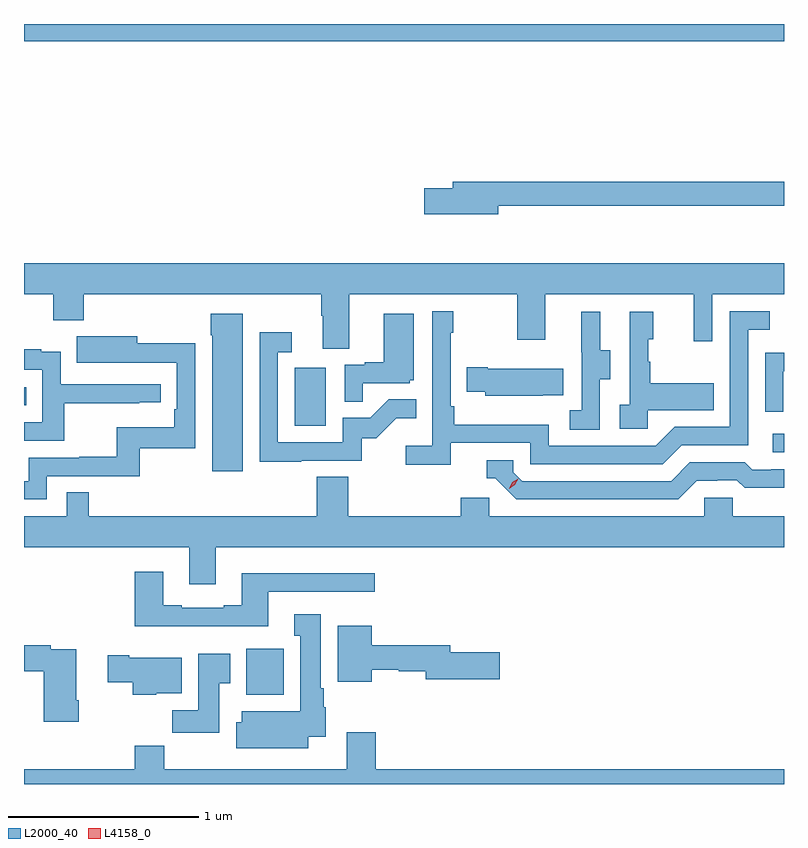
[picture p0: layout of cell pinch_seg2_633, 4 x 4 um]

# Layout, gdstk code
import gdstk
lib = gdstk.Library(unit=1e-6, precision=1e-09)
def R(c, l, rs):  # rectangles x0, y0, x1, y1
    for r in rs: c.add(gdstk.rectangle(r[:2], r[2:], *l))
def P(c, l, *ps):  # polygons
    for p in ps: c.add(gdstk.Polygon(p, *l))
L2000_40 = (2000, 40)
L4158_0 = (4158, 0)

pinch_seg2_633 = lib.new_cell('pinch_seg2_633')
R(pinch_seg2_633, L2000_40, [(1065.719,593.582,1065.916,593.824), (1068.489,594.858,1068.549,594.954), (1065.974,594.996,1066.138,595.303), (1064.549,595.104,1064.561,595.2), (1064.549,597.02,1068.549,597.111)])
P(pinch_seg2_633, L2000_40, [(1067.044,596.154),(1068.549,596.154),(1068.549,596.282),(1066.805,596.282),(1066.805,596.246),(1066.656,596.246),(1066.656,596.111),(1067.044,596.111)],
  [(1066.261,595.688),(1067.146,595.688),(1067.146,595.449),(1067.293,595.449),(1067.293,595.688),(1068.074,595.688),(1068.074,595.44),(1068.171,595.44),(1068.171,595.688),(1068.549,595.688),(1068.549,595.852),(1064.549,595.852),(1064.549,595.688),(1064.704,595.688),(1064.704,595.553),(1064.864,595.553),(1064.864,595.688),(1066.114,595.688),(1066.114,595.576),(1066.121,595.576),(1066.121,595.402),(1066.261,595.402)],
  [(1066.796,594.906),(1067.214,594.906),(1067.214,594.795),(1067.911,594.795),(1068.01,594.894),(1068.36,594.894),(1068.36,595.503),(1068.473,595.503),(1068.473,595.599),(1068.264,595.599),(1068.264,594.99),(1067.973,594.99),(1067.874,594.891),(1067.31,594.891),(1067.31,595.003),(1066.814,595.003),(1066.814,595.099),(1066.794,595.099),(1066.794,595.487),(1066.807,595.487),(1066.807,595.6),(1066.698,595.6),(1066.698,594.892),(1066.557,594.892),(1066.557,594.79),(1066.796,594.79)],
  [(1067.58,595.24),(1067.635,595.24),(1067.635,595.395),(1067.581,595.395),(1067.581,595.597),(1067.483,595.597),(1067.483,595.383),(1067.484,595.383),(1067.484,595.079),(1067.421,595.079),(1067.421,594.976),(1067.58,594.976)],
  [(1067.832,595.079),(1068.179,595.079),(1068.179,595.219),(1067.845,595.219),(1067.845,595.334),(1067.835,595.334),(1067.835,595.452),(1067.86,595.452),(1067.86,595.597),(1067.736,595.597),(1067.736,595.106),(1067.685,595.106),(1067.685,594.981),(1067.832,594.981)],
  [(1065.7,595.585),(1065.532,595.585),(1065.532,595.472),(1065.539,595.472),(1065.539,594.756),(1065.7,594.756)],
  [(1066.331,595.221),(1066.578,595.221),(1066.578,595.236),(1066.6,595.236),(1066.6,595.585),(1066.442,595.585),(1066.442,595.33),(1066.343,595.33),(1066.343,595.317),(1066.236,595.317),(1066.236,595.123),(1066.331,595.123)],
  [(1066.007,594.813),(1066.326,594.813),(1066.326,594.93),(1066.402,594.93),(1066.509,595.037),(1066.613,595.037),(1066.613,595.136),(1066.469,595.136),(1066.371,595.038),(1066.227,595.038),(1066.227,594.909),(1065.885,594.909),(1065.885,595.383),(1065.958,595.383),(1065.958,595.489),(1065.789,595.489),(1065.789,594.808),(1066.007,594.808)],
  [(1064.67,594.732),(1065.157,594.732),(1065.157,594.879),(1065.45,594.879),(1065.45,595.43),(1065.145,595.43),(1065.145,595.468),(1064.827,595.468),(1064.827,595.328),(1065.041,595.328),(1065.041,595.329),(1065.354,595.329),(1065.354,595.084),(1065.341,595.084),(1065.341,594.988),(1065.036,594.988),(1065.036,594.833),(1064.839,594.833),(1064.839,594.828),(1064.574,594.828),(1064.574,594.705),(1064.549,594.705),(1064.549,594.609),(1064.67,594.609)],
  [(1064.762,595.114),(1065.155,595.114),(1065.155,595.119),(1065.268,595.119),(1065.268,595.215),(1064.742,595.215),(1064.742,595.387),(1064.639,595.387),(1064.639,595.399),(1064.549,595.399),(1064.549,595.29),(1064.646,595.29),(1064.646,595.014),(1064.549,595.014),(1064.549,594.918),(1064.762,594.918)],
  [(1068.546,595.283),(1068.549,595.283),(1068.549,595.38),(1068.45,595.38),(1068.45,595.071),(1068.546,595.071)],
  [(1067.279,595.157),(1067.387,595.157),(1067.387,595.297),(1066.99,595.297),(1066.99,595.305),(1066.879,595.305),(1066.879,595.175),(1066.977,595.175),(1066.977,595.154),(1067.279,595.154)],
  [(1068.091,594.708),(1068.198,594.708),(1068.198,594.711),(1068.301,594.711),(1068.343,594.669),(1068.549,594.669),(1068.549,594.768),(1068.481,594.768),(1068.481,594.765),(1068.382,594.765),(1068.343,594.804),(1068.054,594.804),(1067.955,594.705),(1067.172,594.705),(1067.124,594.753),(1067.124,594.816),(1066.985,594.816),(1066.985,594.72),(1067.028,594.72),(1067.139,594.609),(1067.992,594.609)],
  [(1065.559,594.356),(1068.549,594.356),(1068.549,594.52),(1068.279,594.52),(1068.279,594.618),(1068.129,594.618),(1068.129,594.52),(1066.998,594.52),(1066.998,594.618),(1066.847,594.618),(1066.847,594.52),(1066.256,594.52),(1066.256,594.728),(1066.091,594.728),(1066.091,594.52),(1064.891,594.52),(1064.891,594.647),(1064.775,594.647),(1064.775,594.52),(1064.549,594.52),(1064.549,594.356),(1065.419,594.356),(1065.419,594.162),(1065.559,594.162)],
  [(1065.835,594.123),(1066.396,594.123),(1066.396,594.22),(1065.695,594.22),(1065.695,594.052),(1065.599,594.052),(1065.599,594.039),(1065.379,594.039),(1065.379,594.052),(1065.283,594.052),(1065.283,594.229),(1065.131,594.229),(1065.131,593.942),(1065.835,593.942)],
  [(1066.045,593.36),(1066.138,593.36),(1066.138,593.514),(1066.126,593.514),(1066.126,593.614),(1066.111,593.614),(1066.111,594.004),(1065.971,594.004),(1065.971,593.891),(1066.004,593.891),(1066.004,593.494),(1065.695,593.494),(1065.695,593.435),(1065.665,593.435),(1065.665,593.3),(1066.045,593.3)],
  [(1066.378,593.712),(1066.521,593.712),(1066.521,593.704),(1066.664,593.704),(1066.664,593.662),(1067.053,593.662),(1067.053,593.804),(1066.792,593.804),(1066.792,593.84),(1066.378,593.84),(1066.378,593.944),(1066.199,593.944),(1066.199,593.648),(1066.378,593.648)],
  [(1064.837,593.551),(1064.824,593.551),(1064.824,593.82),(1064.69,593.82),(1064.69,593.84),(1064.549,593.84),(1064.549,593.704),(1064.654,593.704),(1064.654,593.439),(1064.837,593.439)],
  [(1065.577,593.641),(1065.634,593.641),(1065.634,593.797),(1065.467,593.797),(1065.467,593.5),(1065.328,593.5),(1065.328,593.382),(1065.577,593.382)],
  [(1065.246,593.588),(1065.379,593.588),(1065.379,593.776),(1065.103,593.776),(1065.103,593.789),(1064.991,593.789),(1064.991,593.647),(1065.121,593.647),(1065.121,593.582),(1065.246,593.582)],
  [(1068.549,593.188),(1066.4,593.188),(1066.4,593.383),(1066.247,593.383),(1066.247,593.188),(1065.287,593.188),(1065.287,593.312),(1065.131,593.312),(1065.131,593.188),(1064.549,593.188),(1064.549,593.111),(1068.549,593.111)])
P(pinch_seg2_633, L4158_0, [(1067.102,594.666),(1067.102,594.666),(1067.118,594.699),(1067.149,594.718),(1067.149,594.718),(1067.149,594.717),(1067.133,594.685),(1067.102,594.666)])

lib.write_gds('pinch_seg2_633.gds')
